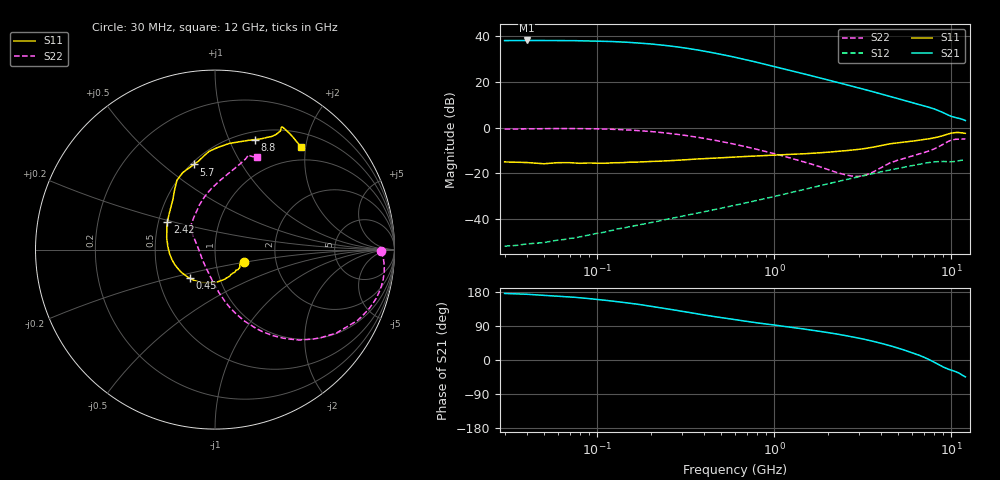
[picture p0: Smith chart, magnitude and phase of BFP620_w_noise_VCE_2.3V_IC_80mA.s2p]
! Infineon Technologies  Discrete & RF Semiconductors
! BFP620
! VCE =  2.3 V,  IC =  80 mA
! Common Emitter S-Parameters:  Nov 2015
# GHz  S  MA  R  50
!  f  S11  S21  S12  S22
! GHz  MAG  ANG  MAG  ANG  MAG  ANG  MAG  ANG
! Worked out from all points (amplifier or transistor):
!   239 points, 30 MHz to 12 GHz, reference 50 ohm
!   highest |S21| = 38.2 dB at 40 MHz (marker M1)
!   |S21| within 3 dB of that: start of sweep to 294 MHz
!   unconditionally stable (mu >= 1): 1.557 GHz to end of sweep
!   at 300 MHz: K = 0.58, MSG = 37.0 dB, |S12| = -38.9 dB
!   at 1.88 GHz: K = 1.01, MAG = 22.6 dB, |S12| = -25.2 dB
!   at 12 GHz: K = 1.09, MAG = 6.9 dB, |S12| = -14.3 dB
!   lowest NFmin = 2.02 dB at 450 MHz
!   S11 on the Smith chart (normalised r, x): 30 MHz: 1.37, -0.19; 450 MHz: 0.72, -0.24; 2.42 GHz: 0.56, +0.19; 5.7 GHz: 0.52, +0.64; 8.8 GHz: 0.59, +1.25; 12 GHz: 0.74, +1.91
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0.03  0.1763 -22.3  80.92 175.6  0.0025 107.1  0.9251 -0.6
0.04  0.1711 -27.6  81.51 173.5  0.0028 99.6  0.9396 -3.0
0.07  0.17 -40.9  81.08 166.5  0.0037 89.4  0.9517 -10.2
0.085  0.1657 -46.4  80 163.2  0.0042 86.1  0.9465 -13.6
0.11  0.1647 -57.4  78.25 157.7  0.0051 83.0  0.929 -19.0
0.14  0.1702 -67.8  75.24 152.1  0.0063 80.7  0.8975 -24.7
0.17  0.1751 -77.1  71.68 147.0  0.0072 78.8  0.8577 -29.6
0.2  0.1805 -85.4  68.42 141.8  0.0082 77.6  0.8205 -34.6
0.24  0.1853 -96.0  63.64 136.1  0.0095 76.3  0.766 -39.9
0.3  0.1949 -109.3  57.08 128.5  0.0113 74.9  0.69 -46.9
0.36  0.2035 -119.3  51.2 122.6  0.0131 74.1  0.6216 -52.5
0.45  0.2135 -131.6  43.79 115.1  0.0156 73.4  0.5354 -59.4
0.6  0.2266 -146.4  34.8 106.3  0.0198 72.4  0.4287 -67.8
0.7  0.2336 -154.0  30.39 101.8  0.0225 72.0  0.3746 -72.0
0.9  0.2449 -165.5  24.11 94.9  0.028 70.8  0.2963 -78.9
1.2  0.2569 -178.2  18.34 87.2  0.0363 68.5  0.2208 -87.0
1.64  0.2735 168.6  13.54 78.6  0.0484 64.6  0.156 -99.0
2.42  0.3065 149.8  9.183 65.9  0.0691 56.8  0.0955 -131.5
4.5  0.441 118.7  4.818 37.6  0.1173 34.6  0.1676 141.9
5.7  0.4889 104.0  3.723 22.9  0.1404 22.3  0.2232 119.9
8.8  0.6511 70.2  2.206 -16.0  0.1801 -11.9  0.411 82.4
12  0.7464 50.1  1.426 -44.6  0.1924 -36.4  0.5666 65.3
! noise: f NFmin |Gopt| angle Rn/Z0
0.45  2.02  0.42  -168  0.1
0.9  2.03  0.45  -156  0.12
1.9  2.04  0.48  -140  0.16
2.4  2.08  0.48  -137  0.18
3.5  2.15  0.51  -108  0.34
5.5  2.46  0.5  -85  0.56
10  2.73  0.7  -41  1.89
